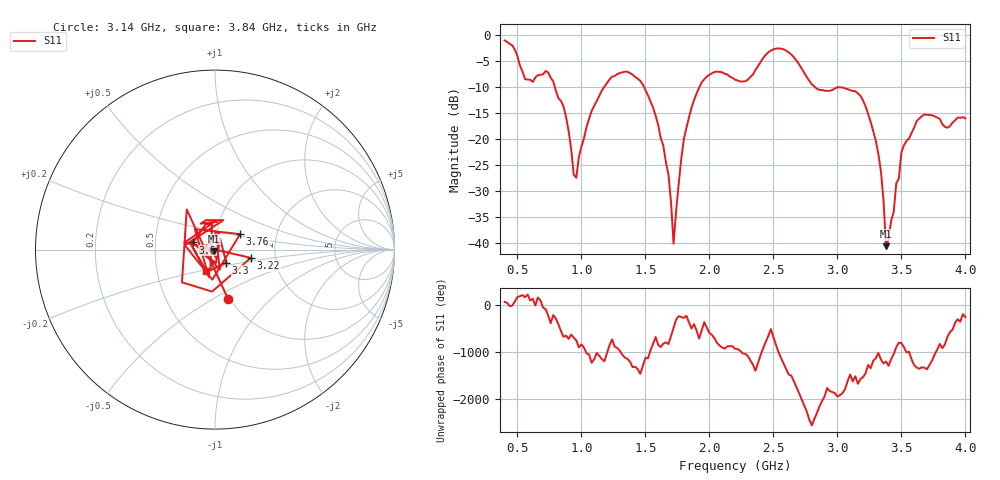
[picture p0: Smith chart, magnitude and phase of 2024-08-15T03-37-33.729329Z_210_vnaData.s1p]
!Created with skrf (http://scikit-rf.org).
# Hz S RI R 50.0
!freq ReS11 ImS11
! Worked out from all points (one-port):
!   181 points, 400 MHz to 4 GHz, reference 50 ohm
!   lowest |S11| = -40.6 dB at 3.38 GHz (marker M1), VSWR 1.02, Z = 49.6 - j0.811 ohm
!   |S11| at or under -10 dB: 791.9 MHz to 1.18 GHz (387.7 MHz wide, 39.3 % of centre); 1.488 GHz to 1.923 GHz (434.1 MHz wide, 25.5 % of centre); 2.823 GHz to end of sweep
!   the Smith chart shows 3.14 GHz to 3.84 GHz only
!   S11 on the Smith chart (normalised r, x): 3.14 GHz: 0.98, -0.59; 3.22 GHz: 1.49, -0.14; 3.3 GHz: 1.12, -0.16; 3.6 GHz: 0.78, +0.06; 3.76 GHz: 1.30, +0.23; 3.84 GHz: 0.88, -0.22
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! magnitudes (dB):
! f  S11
! 400 MHz  -1.1
! 560 MHz  -8.5
! 740 MHz  -7.2
! 860 MHz  -13.8
! 960 MHz  -27.5
! 1.08 GHz  -14.6
! 1.3 GHz  -7.3
! 1.58 GHz  -15.5
! 1.68 GHz  -26.8
! 1.72 GHz  -40.2
! 1.76 GHz  -28.7
! 1.8 GHz  -20.1
! 1.94 GHz  -9.1
! 2.2 GHz  -8.6
! 2.66 GHz  -4.3
! 2.84 GHz  -10.4
! 3.1 GHz  -10.6
! 3.14 GHz  -10.8
! 3.22 GHz  -13.8
! 3.3 GHz  -20.4
! 3.34 GHz  -26.2
! 3.38 GHz  -40.6
! 3.5 GHz  -22.6
! 3.56 GHz  -19.9
! 3.6 GHz  -17.8
! 3.76 GHz  -15.7
! 3.84 GHz  -17.7
! 4 GHz  -16.1
